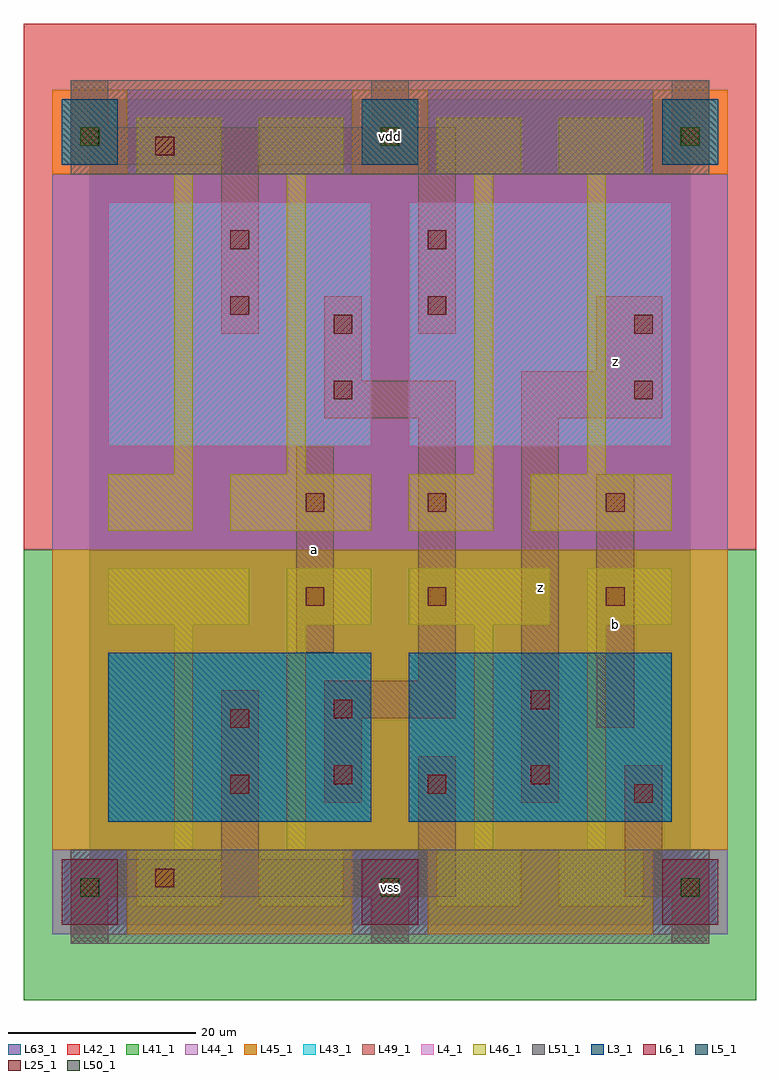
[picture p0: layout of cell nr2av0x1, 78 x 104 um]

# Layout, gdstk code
import gdstk
lib = gdstk.Library(unit=1e-6, precision=1e-09)
def R(c, l, rs):  # rectangles x0, y0, x1, y1
    for r in rs: c.add(gdstk.rectangle(r[:2], r[2:], *l))
def A(c, l, x, y, w, h, nx, ny, dx, dy):  # array of equal rectangles
    R(c, l, [(x+i*dx, y+j*dy, x+i*dx+w, y+j*dy+h) for i in range(nx) for j in range(ny)])
L3_1 = (3, 1)
L4_1 = (4, 1)
L5_1 = (5, 1)
L6_1 = (6, 1)
L25_1 = (25, 1)
L41_1 = (41, 1)
L42_1 = (42, 1)
L43_1 = (43, 1)
L44_1 = (44, 1)
L45_1 = (45, 1)
L46_1 = (46, 1)
L49_1 = (49, 1)
L50_1 = (50, 1)
L51_1 = (51, 1)
L63_1 = (63, 1)

nr2av0x1 = lib.new_cell('nr2av0x1')
R(nr2av0x1, L3_1, [(2,11,30,29), (34,11,62,29)])
R(nr2av0x1, L4_1, [(2,51,30,77), (34,51,62,77)])
A(nr2av0x1, L5_1, -3, 81, 6, 7, 3, 1, 32, 0)
R(nr2av0x1, L6_1, [(-3,0,3,7), (-3,0,3,7), (29,0,35,7), (29,0,35,7), (61,0,67,7), (61,0,67,7)])
A(nr2av0x1, L25_1, -1, 3, 2, 2, 3, 2, 32, 80)
R(nr2av0x1, L25_1, [(7,4,9,6), (58,13,60,15), (15,14,17,16), (36,14,38,16), (26,15,28,17), (47,15,49,17), (15,21,17,23), (26,22,28,24), (47,23,49,25), (23,34,25,36), (36,34,38,36), (55,34,57,36), (23,44,25,46), (36,44,38,46), (55,44,57,46), (26,56,28,58), (58,56,60,58), (26,63,28,65), (58,63,60,65), (15,65,17,67), (36,65,38,67), (15,72,17,74), (36,72,38,74), (7,82,9,84)])
R(nr2av0x1, L41_1, [(-7,-8,71,40)])
R(nr2av0x1, L42_1, [(-7,40,71,96)])
A(nr2av0x1, L43_1, -3, 0, 6, 7, 3, 2, 32, 81)
R(nr2av0x1, L43_1, [(2,11,30,29), (34,11,62,29), (2,51,30,77), (34,51,62,77)])
A(nr2av0x1, L44_1, -4, -1, 8, 9, 3, 1, 32, 0)
R(nr2av0x1, L44_1, [(-4,40,68,80), (4,80,28,89), (36,80,60,89)])
A(nr2av0x1, L45_1, -4, 80, 8, 9, 3, 1, 32, 0)
R(nr2av0x1, L45_1, [(4,-1,28,8), (36,-1,60,8), (-4,8,68,40)])
R(nr2av0x1, L46_1, [(5,2,14,8), (18,2,27,8), (37,2,46,8), (50,2,59,8), (9,8,11,32), (21,8,23,32), (41,8,43,32), (53,8,55,32), (2,32,17,38), (21,32,30,38), (34,32,49,38), (53,32,62,38), (2,42,11,48), (15,42,30,48), (34,42,43,48), (47,42,62,48), (9,48,11,80), (21,48,23,80), (41,48,43,80), (53,48,55,80), (5,80,14,86), (18,80,27,86), (37,80,46,86), (50,80,59,86)])
A(nr2av0x1, L49_1, -2, -2, 4, 5, 3, 1, 32, 0)
R(nr2av0x1, L49_1, [(-2,3,39,7), (57,3,66,7), (14,7,18,25), (35,7,39,18), (57,7,61,17), (25,13,29,22), (46,13,50,54), (54,21,58,48), (25,22,39,26), (35,26,39,54), (22,29,26,51), (25,54,39,58), (46,54,61,59), (25,58,29,67), (54,59,61,67), (14,63,18,81), (35,63,39,81), (-2,81,39,85), (62,81,66,90), (-2,85,2,90), (30,85,34,90)])
A(nr2av0x1, L50_1, -1, 3, 2, 2, 3, 2, 32, 80)
R(nr2av0x1, L51_1, [(-2,-2,66,8), (-2,80,66,90)])
R(nr2av0x1, L63_1, [(0,0,64,88)])
nr2av0x1.add(gdstk.Label('a', (24,40), layer=49, texttype=1))
nr2av0x1.add(gdstk.Label('z', (48,36), layer=49, texttype=1))
nr2av0x1.add(gdstk.Label('b', (56,32), layer=49, texttype=1))
nr2av0x1.add(gdstk.Label('z', (56,60), layer=49, texttype=1))
nr2av0x1.add(gdstk.Label('vss', (32,4), layer=51, texttype=1))
nr2av0x1.add(gdstk.Label('vdd', (32,84), layer=51, texttype=1))

lib.write_gds('nr2av0x1.gds')
